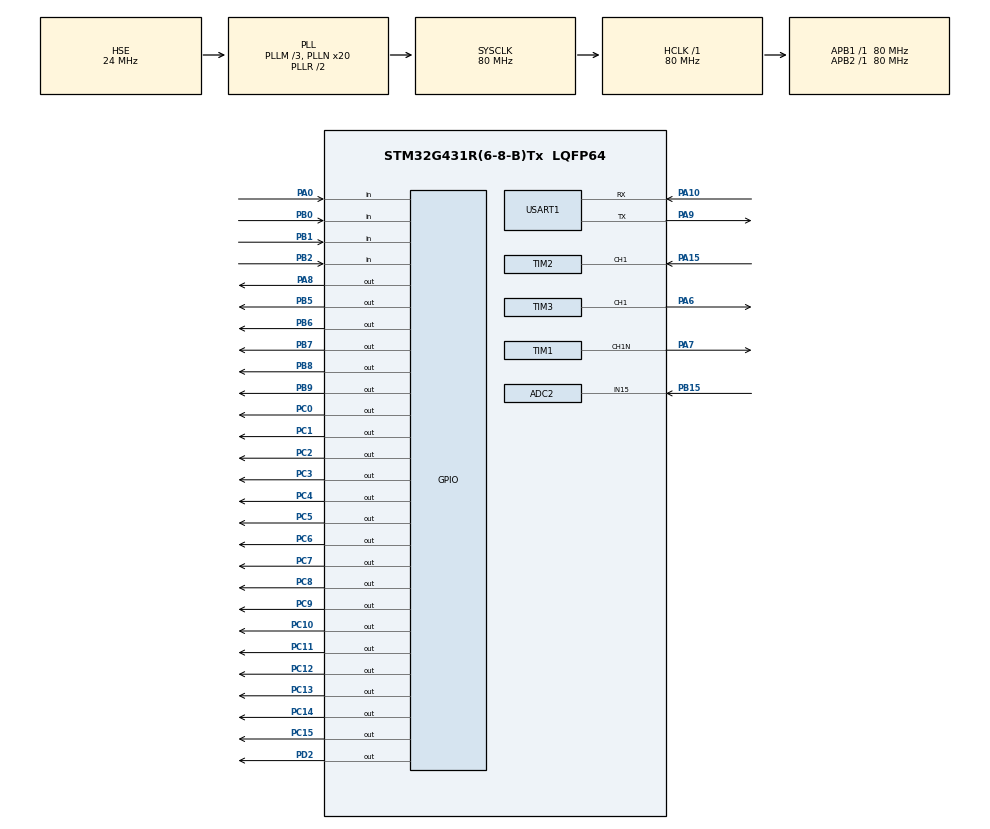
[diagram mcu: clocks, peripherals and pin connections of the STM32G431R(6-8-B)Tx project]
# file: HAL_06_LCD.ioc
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ADC2.Channel-0\#ChannelRegularConversion=ADC_CHANNEL_15
ADC2.NbrOfConversionFlag=1
ADC2.OffsetNumber-0\#ChannelRegularConversion=ADC_OFFSET_NONE
ADC2.Rank-0\#ChannelRegularConversion=1
ADC2.SamplingTime-0\#ChannelRegularConversion=ADC_SAMPLETIME_92CYCLES_5
Mcu.Family=STM32G4
Mcu.Name=STM32G431R(6-8-B)Tx
Mcu.Package=LQFP64
NVIC.PriorityGroup=NVIC_PRIORITYGROUP_4
NVIC.TIM2_IRQn=true\:0\:0\:false\:false\:true\:true\:true
NVIC.USART1_IRQn=true\:0\:0\:false\:false\:true\:true\:true
PA0.Signal=GPIO_Input
PA10.Mode=Asynchronous
PA10.Signal=USART1_RX
PA13.Mode=Serial_Wire
PA13.Signal=SYS_JTMS-SWDIO
PA14.Mode=Serial_Wire
PA14.Signal=SYS_JTCK-SWCLK
PA15.Signal=S_TIM2_CH1
PA6.Signal=S_TIM3_CH1
PA7.Mode=PWM Generation1 CH1N
PA7.Signal=TIM1_CH1N
PA8.Signal=GPIO_Output
PA9.Mode=Asynchronous
PA9.Signal=USART1_TX
PB0.Signal=GPIO_Input
PB1.Signal=GPIO_Input
PB15.Mode=IN15-Single-Ended
PB15.Signal=ADC2_IN15
PB2.Signal=GPIO_Input
PB5.Signal=GPIO_Output
PB6.GPIO_ModeDefaultOutputPP=GPIO_MODE_OUTPUT_OD
PB6.Signal=GPIO_Output
PB7.GPIO_ModeDefaultOutputPP=GPIO_MODE_OUTPUT_OD
PB7.Signal=GPIO_Output
PB8-BOOT0.Signal=GPIO_Output
PB9.Signal=GPIO_Output
PC0.Signal=GPIO_Output
PC1.Signal=GPIO_Output
PC10.Signal=GPIO_Output
PC11.Signal=GPIO_Output
PC12.Signal=GPIO_Output
PC13.Signal=GPIO_Output
PC14-OSC32_IN.Signal=GPIO_Output
PC15-OSC32_OUT.Signal=GPIO_Output
PC2.Signal=GPIO_Output
PC3.Signal=GPIO_Output
PC4.Signal=GPIO_Output
PC5.Signal=GPIO_Output
PC6.Signal=GPIO_Output
PC7.Signal=GPIO_Output
PC8.Signal=GPIO_Output
PC9.Signal=GPIO_Output
PD2.Signal=GPIO_Output
PF0-OSC_IN.Mode=HSE-External-Oscillator
PF0-OSC_IN.Signal=RCC_OSC_IN
PF1-OSC_OUT.Mode=HSE-External-Oscillator
PF1-OSC_OUT.Signal=RCC_OSC_OUT
ProjectManager.HeapSize=0x200
ProjectManager.StackSize=0x400
ProjectManager.TargetToolchain=MDK-ARM V5.27
RCC.ADC12Freq_Value=80000000
RCC.AHBFreq_Value=80000000
RCC.APB1Freq_Value=80000000
RCC.APB1TimFreq_Value=80000000
RCC.APB2Freq_Value=80000000
RCC.APB2TimFreq_Value=80000000
RCC.CortexFreq_Value=80000000
RCC.EXTERNAL_CLOCK_VALUE=12288000
RCC.HCLKFreq_Value=80000000
RCC.HSE_VALUE=24000000
RCC.HSI48_VALUE=48000000
RCC.HSI_VALUE=16000000
RCC.LSE_VALUE=32768
RCC.PLLM=RCC_PLLM_DIV3
RCC.PLLN=20
RCC.PLLSourceVirtual=RCC_PLLSOURCE_HSE
RCC.SYSCLKFreq_VALUE=80000000
RCC.SYSCLKSource=RCC_SYSCLKSOURCE_PLLCLK
RCC.USBFreq_Value=80000000
RCC.VCOOutputFreq_Value=160000000
SH.S_TIM2_CH1.0=TIM2_CH1,Input_Capture1_from_TI1
SH.S_TIM2_CH1.1=TIM2_CH1,Input_Capture2_from_TI1
SH.S_TIM2_CH1.2=TIM2_CH1,TriggerSource_TI1FP1
SH.S_TIM3_CH1.0=TIM3_CH1,PWM Generation1 CH1
TIM1.Channel-PWM\ Generation1\ CH1N=TIM_CHANNEL_1
TIM1.PeriodNoDither=4999
TIM1.Prescaler=79
TIM1.PulseNoDither_1=500
TIM2.Channel-Input_Capture1_from_TI1=TIM_CHANNEL_1
TIM2.Channel-Input_Capture2_from_TI1=TIM_CHANNEL_2
TIM2.ICPolarity_CH2=TIM_INPUTCHANNELPOLARITY_FALLING
TIM2.PeriodNoDither=0xffffffff
TIM2.Prescaler=79
TIM3.Channel-PWM\ Generation1\ CH1=TIM_CHANNEL_1
TIM3.OCMode_PWM-PWM\ Generation1\ CH1=TIM_OCMODE_PWM1
TIM3.OCPolarity_1=TIM_OCPOLARITY_HIGH
TIM3.PeriodNoDither=9999
TIM3.Prescaler=79
TIM3.PulseNoDither_1=1000
USART1.VirtualMode-Asynchronous=VM_ASYNC
VP_SYS_VS_DBSignals.Mode=DisableDeadBatterySignals
VP_TIM2_VS_ControllerModeReset.Mode=Reset Mode
board=custom

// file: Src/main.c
/* USER CODE BEGIN Header */
/**
  ******************************************************************************
  * @file           : main.c
  * @brief          : Main program body
  ******************************************************************************
  * @attention
  *
  * <h2><center>&copy; Copyright (c) 2021 STMicroelectronics.
  * All rights reserved.</center></h2>
  *
  * This software component is licensed by ST under BSD 3-Clause license,
  * the "License"; You may not use this file except in compliance with the
  * License. You may obtain a copy of the License at:
  *                        opensource.org/licenses/BSD-3-Clause
  *
  ******************************************************************************
  */
/* USER CODE END Header */
#include "main.h"
#include "adc.h"
#include "tim.h"
#include "usart.h"
#include "gpio.h"

/* USER CODE BEGIN Includes */
#include <string.h>
//#include <stdlib.h>   malloc()
//#inclde <time.h>
#include <stdio.h>       //printf()   fputc   sprintf() sscanf()
#include "i2c.h"
/* USER CODE END Includes */

/* USER CODE BEGIN PV */
u8 ucLed=0;
u8 ucState=0;  //0-Data
u8 ucMode=1;		//0-menu

u16 usR37;
u8 ucDuty_Auto;
u8 pucDuty_Manu[2]={10,10};

vu32 uwTickMs=0,uw100Ms=0;

u32 Capture=0;
u32 Duty=0;

u8 pucOut[20]={0};
u8 pucIn[11]={0};
/* USER CODE END PV */

void SystemClock_Config(void);
/* USER CODE BEGIN PFP */
void KEY_Proc(void);
void ADC_Proc(void);
void LCD_Proc(void);
void LED_Proc(void);
void TIM_Proc(void);
/* USER CODE END PFP */

int main(void)
{
  /* USER CODE BEGIN 1 */
	u8 pucI2C[2]={0};  //u8 *pucI2C[2]={0};
  /* USER CODE END 1 */

  /* MCU Configuration--------------------------------------------------------*/

  /* Reset of all peripherals, Initializes the Flash interface and the Systick. */
  HAL_Init();

  /* Configure the system clock */
  SystemClock_Config();

  /* Initialize all configured peripherals */
  MX_GPIO_Init();
  MX_ADC2_Init();
  MX_TIM1_Init();
  MX_TIM3_Init();
  MX_TIM2_Init();
  MX_USART1_UART_Init();
  /* USER CODE BEGIN 2 */

	LCD_Init();
  /* USER CODE END 2 */

  /* Infinite loop */
  /* USER CODE BEGIN WHILE */

	LCD_Clear(Black);
	LCD_SetBackColor(Black);
	LCD_SetTextColor(White);

	//HAL_ADCEx_Calibration_Start(&hadc2,ADC_SINGLE_ENDED);
	HAL_TIM_PWM_Start(&htim3,TIM_CHANNEL_1);
	HAL_TIMEx_PWMN_Start(&htim1,TIM_CHANNEL_1);

	HAL_TIM_IC_Start_IT(&htim2,TIM_CHANNEL_1);
	HAL_TIM_IC_Start(&htim2,TIM_CHANNEL_2);

	//sprintf(pucOut,"PA6:%02d,PA7:%02d",10,5);
	sprintf(pucOut,"%s","hello");
	//pucOut ="hello";   //  stdio.h
	//strcpy strlen strcmp    string.h
	strcpy(pucOut,"hello");
	HAL_UART_Transmit(&huart1,pucOut,5,10);
	HAL_UART_Transmit_IT(&huart1,pucOut,5);

	HAL_UART_Receive_IT(&huart1,pucIn,10);

	MEM_Read(0,pucI2C,2);
	if(pucI2C[0]>=10 && pucI2C[0]<=10 && pucI2C[0]%10==0 && pucI2C[1]>=10 && pucI2C[1]<=10 && pucI2C[1]%10==0   )
	{
		pucI2C[0]=pucDuty_Manu[0];
		pucI2C[1]=pucDuty_Manu[1];
	}

	//pucDuty_Manu[0],pucDuty_Manu[1]
  while (1)
  {
    ADC_Proc();
		KEY_Proc();
		LCD_Proc();
		LED_Proc();
		TIM_Proc();
    /* USER CODE END WHILE */

  }
}

void SystemClock_Config(void)
{
  RCC_OscInitTypeDef RCC_OscInitStruct = {0};
  RCC_ClkInitTypeDef RCC_ClkInitStruct = {0};
  RCC_PeriphCLKInitTypeDef PeriphClkInit = {0};

  /** Configure the main internal regulator output voltage
  */
  HAL_PWREx_ControlVoltageScaling(PWR_REGULATOR_VOLTAGE_SCALE1);
  /** Initializes the RCC Oscillators according to the specified parameters
  * in the RCC_OscInitTypeDef structure.
  */
  RCC_OscInitStruct.OscillatorType = RCC_OSCILLATORTYPE_HSE;
  RCC_OscInitStruct.HSEState = RCC_HSE_ON;
  RCC_OscInitStruct.PLL.PLLState = RCC_PLL_ON;
  RCC_OscInitStruct.PLL.PLLSource = RCC_PLLSOURCE_HSE;
  RCC_OscInitStruct.PLL.PLLM = RCC_PLLM_DIV3;
  RCC_OscInitStruct.PLL.PLLN = 20;
  RCC_OscInitStruct.PLL.PLLP = RCC_PLLP_DIV2;
  RCC_OscInitStruct.PLL.PLLQ = RCC_PLLQ_DIV2;
  RCC_OscInitStruct.PLL.PLLR = RCC_PLLR_DIV2;
  if (HAL_RCC_OscConfig(&RCC_OscInitStruct) != HAL_OK)
  {
    Error_Handler();
  }
  /** Initializes the CPU, AHB and APB buses clocks
  */
  RCC_ClkInitStruct.ClockType = RCC_CLOCKTYPE_HCLK|RCC_CLOCKTYPE_SYSCLK
                              |RCC_CLOCKTYPE_PCLK1|RCC_CLOCKTYPE_PCLK2;
  RCC_ClkInitStruct.SYSCLKSource = RCC_SYSCLKSOURCE_PLLCLK;
  RCC_ClkInitStruct.AHBCLKDivider = RCC_SYSCLK_DIV1;
  RCC_ClkInitStruct.APB1CLKDivider = RCC_HCLK_DIV1;
  RCC_ClkInitStruct.APB2CLKDivider = RCC_HCLK_DIV1;

  if (HAL_RCC_ClockConfig(&RCC_ClkInitStruct, FLASH_LATENCY_2) != HAL_OK)
  {
    Error_Handler();
  }
  /** Initializes the peripherals clocks
  */
  PeriphClkInit.PeriphClockSelection = RCC_PERIPHCLK_USART1|RCC_PERIPHCLK_ADC12;
  PeriphClkInit.Usart1ClockSelection = RCC_USART1CLKSOURCE_PCLK2;
  PeriphClkInit.Adc12ClockSelection = RCC_ADC12CLKSOURCE_SYSCLK;
  if (HAL_RCCEx_PeriphCLKConfig(&PeriphClkInit) != HAL_OK)
  {
    Error_Handler();
  }
}

/* USER CODE BEGIN 4 */
void LCD_Proc(void)
{
	u8 pucDisp[25]={0};
	u8 *ppucMode[2]={"MANU","AUTO"};
	if(!ucState)
	{
		//LCD_Clear(Blue);
		LCD_DisplayStringLine(Line0,(unsigned char *)"        Data        ");

		sprintf(pucDisp,"  V:%4.2fV",usR37*3.3/4095);
		//sprintf(pucDisp,"  V:%-4d          ",usR37);
		LCD_DisplayStringLine(Line2,(unsigned char *)pucDisp);

		sprintf(pucDisp,"  Mode:%s",ppucMode[ucMode] );
		LCD_DisplayStringLine(Line4,(unsigned char *)pucDisp);

	}
	else
	{
		//LCD_Clear(Blue);
		LCD_DisplayStringLine(Line0,(unsigned char *)"       Para        ");
		sprintf(pucDisp,"  PA6:%d%%     ",pucDuty_Manu[0]);
		LCD_DisplayStringLine(Line2,(unsigned char *)pucDisp);
		sprintf(pucDisp,"  PA7:%d%%     ",pucDuty_Manu[1]);
		LCD_DisplayStringLine(Line4,(unsigned char *)pucDisp);
	}
	if(Capture)
	{
		sprintf(pucDisp,"  Freq:%4.1fHZ      ",1000000.0/Capture);
		LCD_DisplayStringLine(Line6,(unsigned char *)pucDisp);
		sprintf(pucDisp,"  Duty:%4.1f%%      ",100.0*Duty/Capture);
		LCD_DisplayStringLine(Line7,(unsigned char *)pucDisp);
	}
	else
	{
		sprintf(pucDisp,"  Freq:%4.1fHZ      ",0);
		LCD_DisplayStringLine(Line6,(unsigned char *)pucDisp);
		sprintf(pucDisp,"  Duty:%4.1f%%      ",0);
		LCD_DisplayStringLine(Line7,(unsigned char *)pucDisp);
	}
	sprintf(pucDisp,"  Capt1:%d      ",Capture);
	LCD_DisplayStringLine(Line8,(unsigned char *)pucDisp);
	sprintf(pucDisp,"  Duty1:%d      ",Duty);
	LCD_DisplayStringLine(Line9,(unsigned char *)pucDisp);
}
void LED_Proc(void)
{
	if(ucMode)
		ucLed |=1<<0;
	else
		ucLed &=~(1<<0);
	if(ucState )
		ucLed |=1<<1;
	else
		ucLed &=~(1<<1);
	LED_Disp(ucLed);
}
void ADC_Proc(void)
{
	static u32 uw100Ms_Temp=0;
	static u16 usR37_Old=0;
	if(uw100Ms_Temp != uw100Ms)
	{
		uw100Ms_Temp=uw100Ms;
		usR37=ADC2_Read();
		if(ucMode )
		{
			if(usR37_Old != usR37)
			{
				usR37_Old=usR37;
				ucDuty_Auto=usR37*100/4095;
				//TIM PA6 PA7
				//htim3.Instance->CCR1=10000*ucDuty_Auto/100;
				//htim1.Instance->CCR1=10000*ucDuty_Auto;

			}
		}
	}
}
void KEY_Proc(void)
{
	uint8_t ucKey_Now;
	static uint8_t ucKey_Old=0;
	ucKey_Now=KEY_Read();
	//u8 pucDisp[25]={0};
	if(ucKey_Now!=ucKey_Old)
	{
		ucKey_Old=ucKey_Now;
		switch(ucKey_Now)
		{
			case 0:

				break;
			case 1:
				ucState =!ucState ;
				LCD_Clear(Black);
				break;
			case 2:
				if(ucState)
				{
					pucDuty_Manu[0]+=10;
					if(pucDuty_Manu[0]>90) pucDuty_Manu[0]=10;
					//pucduty_Manu[]-->PA6,PA7
					//if(!ucMode)
					//	htim3.Instance->CCR1=10000*pucDuty_Manu[0]/100;
					MEM_Write(0, pucDuty_Manu,2);
				}
				break;
			case 3:
				if(ucState)
				{
					pucDuty_Manu[1]+=10;
					if(pucDuty_Manu[1]>90) pucDuty_Manu[1]=10;
					//pucduty_Manu[]-->PA6,PA7
					//if(!ucMode )
						//htim1.Instance->CCR1=5000*pucDuty_Manu[1]/100;
					//MEM_Write(1,pucDuty_Manu)
					MEM_Write(0, pucDuty_Manu,2);
				}
				break;
			case 4:
				ucMode =!ucMode;
				if(!ucMode)
				{
					//htim3.Instance->CCR1=10000*pucDuty_Manu[0]/100;
					//htim1.Instance->CCR1=5000*pucDuty_Manu[1]/100;
				}
				else
				{
					//htim3.Instance->CCR1=10000*ucDuty_Auto/100;
					//htim1.Instance->CCR1=5000*ucDuty_Auto;
				}
			break;
		}
	}

}
void TIM_Proc(void)
{
	uint32_t uwTim3Pulse,uwTim1Pulse;
	if(ucMode)
	{
		htim3.Instance->CCR1=ucDuty_Auto/100.0*10000;
		htim1.Instance->CCR1=ucDuty_Auto/100.0*5000;
	}
	else
	{
		htim3.Instance->CCR1=pucDuty_Manu[0]/100.0*10000;
		htim1.Instance->CCR1=pucDuty_Manu[1]/100.0*5000;
	}
}
u8 IsNum(u8 ucChar)
{
	if(ucChar>=0x30 && ucChar<=0x39 )
		return 1;
	else
		return 0;
}
void HAL_UART_RxCpltCallback(UART_HandleTypeDef *huart)
{
	int rst=0;
	u8 ucPA6,ucPA7;
	//u8 *pucTemp[5]={0};
	u8 pucTemp[5]={0};
	u8 pucReply[4]={0};
	//pucIn  rst=sscanf(pucIn,"%c,%d,%s",&x,s)
	if(IsNum(pucIn[5]) && IsNum(pucIn[6]) && IsNum(pucIn[8]) && IsNum(pucIn[9]))
	{
		rst=sscanf(pucIn,"%4s:%d,%d",pucTemp,&ucPA6,&ucPA7);
		if(rst==3)
		{
			if(!strcmp(pucTemp,"AUTO") || !strcmp(pucTemp,"MANU"))
			{
				if(!strcmp(pucTemp,"AUTO"))
				{
					ucMode=1;
					strcpy(pucReply ,"OK1");
					//HAL_UART_Transmit_IT(&huart1,"OK1" ,3);
					HAL_UART_Transmit_IT(&huart1,pucReply ,3);
					//htim3.Instance->CCR1=ucDuty_Auto/100.0*10000;
					//htim1.Instance->CCR1=ucDuty_Auto/100.0*5000;
				}
				else
				{
					if(ucPA6 >=10 && ucPA6 <=90 && ucPA6 %10 ==0 && ucPA7 >=10 && ucPA7 <=90 && ucPA7 %10 ==0)
					{
						pucDuty_Manu[0]=ucPA6;
						pucDuty_Manu[1]=ucPA7;
						MEM_Write(0, pucDuty_Manu,2);
						ucMode=0;
						HAL_UART_Transmit_IT(&huart1,"OK2" ,3);
						//htim3.Instance->CCR1=pucDuty_Manu[0]/100.0*10000;
						//htim1.Instance->CCR1=pucDuty_Manu[1]/100.0*5000;
					}
					else
					{
						strcpy(pucOut ,"Er3");
						HAL_UART_Transmit_IT(&huart1,pucOut ,3);
					}

				}

			}
			else
			{
				strcpy(pucOut ,"Er2");
				HAL_UART_Transmit_IT(&huart1,pucOut ,3);
			}
		}
		else
		{
			strcpy(pucOut ,"Er1");
			HAL_UART_Transmit_IT(&huart1,pucOut ,3);
	    //printf("Err");
		}
	}
	else
	{
		//HAL_UART_Transmit();  //printf()
		//HAL_UART_Transmit_IT(&huart1,"Err",3);
		strcpy(pucOut ,"Er0");
		HAL_UART_Transmit_IT(&huart1,pucOut ,3);
	}
	HAL_UART_Receive_IT(&huart1,pucIn,10);
}
void HAL_TIM_IC_CaptureCallback(TIM_HandleTypeDef *htim)
{
	if(htim->Instance ==TIM2)
	{
		if(htim->Channel==HAL_TIM_ACTIVE_CHANNEL_1)
		{
			Capture=HAL_TIM_ReadCapturedValue(htim,TIM_CHANNEL_1)+1;
			Duty =htim2.Instance->CCR2+1;
			//Duty=htim->Instance->CCR2 ;
			//Duty=TIM2->CCR2    //CMSIS
		}
	}
}
/* USER CODE END 4 */

void Error_Handler(void)
{
}

/************************ (C) COPYRIGHT STMicroelectronics *****END OF FILE****/
